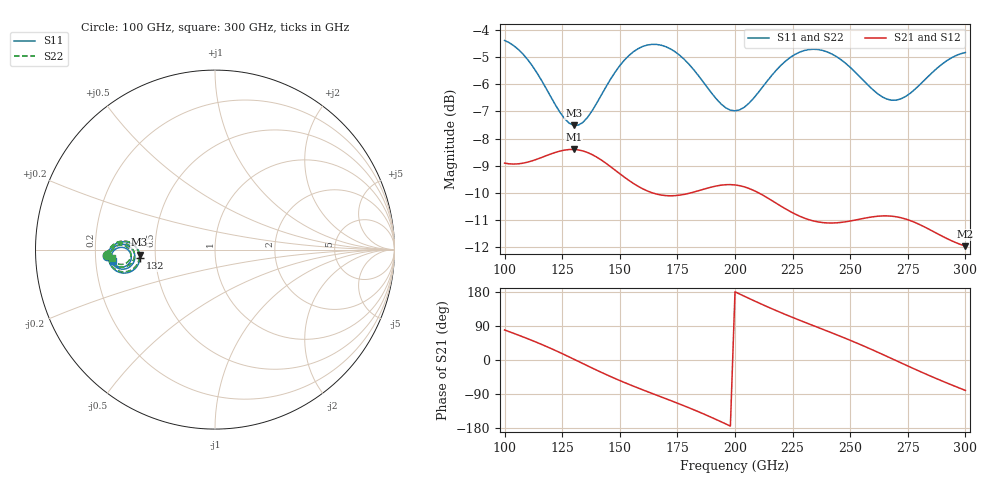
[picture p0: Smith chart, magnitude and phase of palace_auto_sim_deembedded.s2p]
! Created with skrf 1.11.0 (http://scikit-rf.org).
# GHz S DB R 50.0
!freq dBS11 angS11 dBS21 angS21 dBS12 angS12 dBS22 angS22
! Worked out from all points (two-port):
!   101 points, 100 GHz to 300 GHz, reference 50 ohm
!   highest |S21| = -8.40 dB at 130 GHz (marker M1); lowest = -12.0 dB at 300 GHz (marker M2)
!   |S21| within 3 dB of the highest: start of sweep to 285.7 GHz
!   lowest |S11| = -7.5 dB at 130 GHz (marker M3), VSWR 2.45, Z = 20.4 - j1.44 ohm
!   |S11| at or under -10 dB: nowhere
!   |S22| runs from -7.5 to -4.4 dB; largest |S21 - S12| = 4.1e-14
!   S11 on the Smith chart (normalised r, x): 100 GHz: 0.25, -0.03; 132 GHz: 0.41, -0.05; 300 GHz: 0.27, -0.05
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100  -4.39 -176.8  -8.90 79.3  -8.90 79.3  -4.38 -177.2
116  -5.86 175.0  -8.70 41.3  -8.70 41.3  -5.83 174.6
124  -7.03 177.6  -8.46 19.6  -8.46 19.6  -6.99 177.1
130  -7.51 -176.0  -8.40 2.3  -8.40 2.3  -7.47 -176.7
132  -7.50 -173.6  -8.42 -3.6  -8.42 -3.6  -7.46 -174.2
134  -7.40 -171.2  -8.45 -9.5  -8.45 -9.5  -7.36 -171.9
142  -6.40 -165.5  -8.79 -32.6  -8.79 -32.6  -6.36 -166.3
150  -5.32 -166.3  -9.29 -54.2  -9.29 -54.2  -5.29 -167.1
160  -4.61 -171.7  -9.85 -78.8  -9.85 -78.8  -4.59 -172.5
168  -4.57 -176.7  -10.08 -97.5  -10.08 -97.5  -4.55 -177.5
184  -5.67 176.8  -9.92 -136.2  -9.92 -136.2  -5.64 175.9
192  -6.55 178.5  -9.74 -157.5  -9.74 -157.5  -6.51 177.6
200  -6.98 -175.4  -9.70 179.9  -9.70 179.9  -6.93 -176.4
208  -6.52 -169.4  -9.90 157.1  -9.90 157.1  -6.49 -170.6
216  -5.67 -167.9  -10.28 135.3  -10.28 135.3  -5.65 -169.2
224  -5.01 -170.1  -10.68 114.8  -10.68 114.8  -4.99 -171.4
234  -4.71 -174.9  -11.03 90.7  -11.03 90.7  -4.70 -176.2
252  -5.54 178.7  -11.00 46.9  -11.00 46.9  -5.52 177.3
268  -6.59 -175.9  -10.85 3.8  -10.85 3.8  -6.56 -177.4
276  -6.34 -171.1  -11.01 -18.5  -11.01 -18.5  -6.32 -172.7
284  -5.70 -169.3  -11.33 -40.2  -11.33 -40.2  -5.69 -170.9
300  -4.83 -173.4  -11.96 -80.3  -11.96 -80.3  -4.83 -175.1
